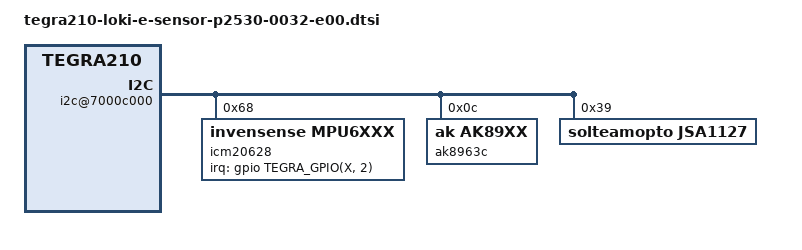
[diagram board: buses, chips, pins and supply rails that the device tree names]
#include <dt-bindings/gpio/tegra-gpio.h>

/ {
	i2c@7000c000 {
		icm20628@68 {
			compatible = "invensense,mpu6xxx";
			reg = <0x68>;
			interrupt-parent = <&gpio>;
			interrupts = <TEGRA_GPIO(X, 2) 0x00>;
			invensense,orientation = [ff 00 00 00 01 00 00 00 ff];
		};

		ak8963c@0c {
			compatible = "ak,ak89xx";
			reg = <0x0c>;
			orientation = [01 00 00 00 ff 00 00 00 ff];
		};

		jsa1127@39 {
			compatible = "solteamopto,jsa1127";
			reg = <0x39>;
			light_threshold_lo = <0>;
			light_threshold_hi = <0>;
			light_resolution_ival = <20>;
			light_resolution_fval = <0>;
			light_max_range_ival = <6553>;
			light_max_range_fval = <400000>;
		};
	};

};
